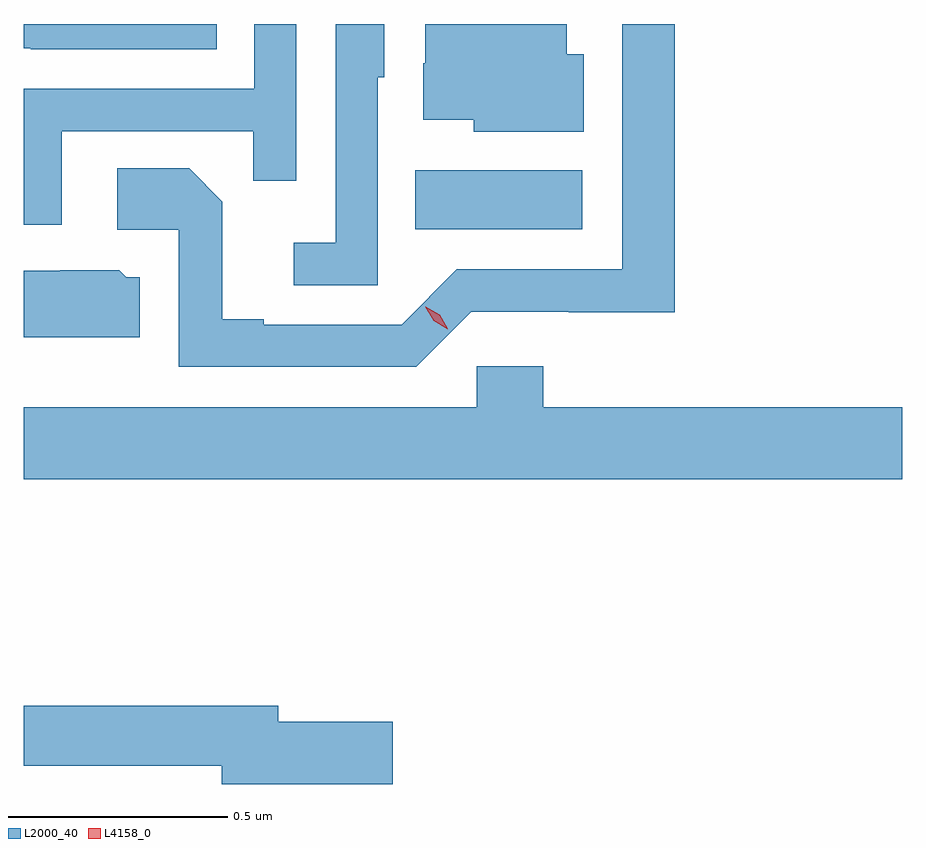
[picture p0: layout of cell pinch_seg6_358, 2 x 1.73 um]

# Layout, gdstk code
import gdstk
lib = gdstk.Library(unit=1e-6, precision=1e-09)
def R(c, l, rs):  # rectangles x0, y0, x1, y1
    for r in rs: c.add(gdstk.rectangle(r[:2], r[2:], *l))
def P(c, l, *ps):  # polygons
    for p in ps: c.add(gdstk.Polygon(p, *l))
L2000_40 = (2000, 40)
L4158_0 = (4158, 0)

pinch_seg6_358 = lib.new_cell('pinch_seg6_358')
R(pinch_seg6_358, L2000_40, [(754.75,942.578,755.131,942.712)])
P(pinch_seg6_358, L2000_40, [(754.665,942.924),(754.68,942.924),(754.68,943.045),(754.569,943.045),(754.569,942.547),(754.473,942.547),(754.473,942.45),(754.665,942.45)],
  [(754.298,943.045),(753.859,943.045),(753.859,942.99),(753.874,942.99),(753.874,942.987),(754.298,942.987)],
  [(753.945,942.801),(754.381,942.801),(754.381,942.688),(754.479,942.688),(754.479,943.045),(754.383,943.045),(754.383,942.897),(753.859,942.897),(753.859,942.588),(753.945,942.588)],
  [(755.134,942.976),(755.095,942.976),(755.095,943.045),(754.773,943.045),(754.773,942.956),(754.769,942.956),(754.769,942.827),(754.884,942.827),(754.884,942.8),(755.134,942.8)],
  [(754.878,942.39),(755.1,942.39),(755.1,942.389),(755.341,942.389),(755.341,943.045),(755.222,943.045),(755.222,942.486),(754.845,942.486),(754.719,942.36),(754.405,942.36),(754.405,942.373),(754.311,942.373),(754.311,942.64),(754.235,942.716),(754.071,942.716),(754.071,942.576),(754.212,942.576),(754.212,942.264),(754.752,942.264)],
  [(754.123,942.468),(754.092,942.468),(754.076,942.484),(753.942,942.484),(753.942,942.483),(753.859,942.483),(753.859,942.332),(754.123,942.332)],
  [(755.859,942.172),(755.042,942.172),(755.042,942.265),(754.89,942.265),(754.89,942.172),(753.859,942.172),(753.859,942.008),(755.859,942.008)],
  [(754.699,941.456),(754.438,941.456),(754.438,941.492),(753.859,941.492),(753.859,941.356),(754.31,941.356),(754.31,941.314),(754.699,941.314)])
P(pinch_seg6_358, L4158_0, [(754.824,942.35),(754.792,942.369),(754.773,942.401),(754.773,942.401),(754.774,942.401),(754.806,942.383),(754.824,942.351),(754.824,942.35)])

lib.write_gds('pinch_seg6_358.gds')
